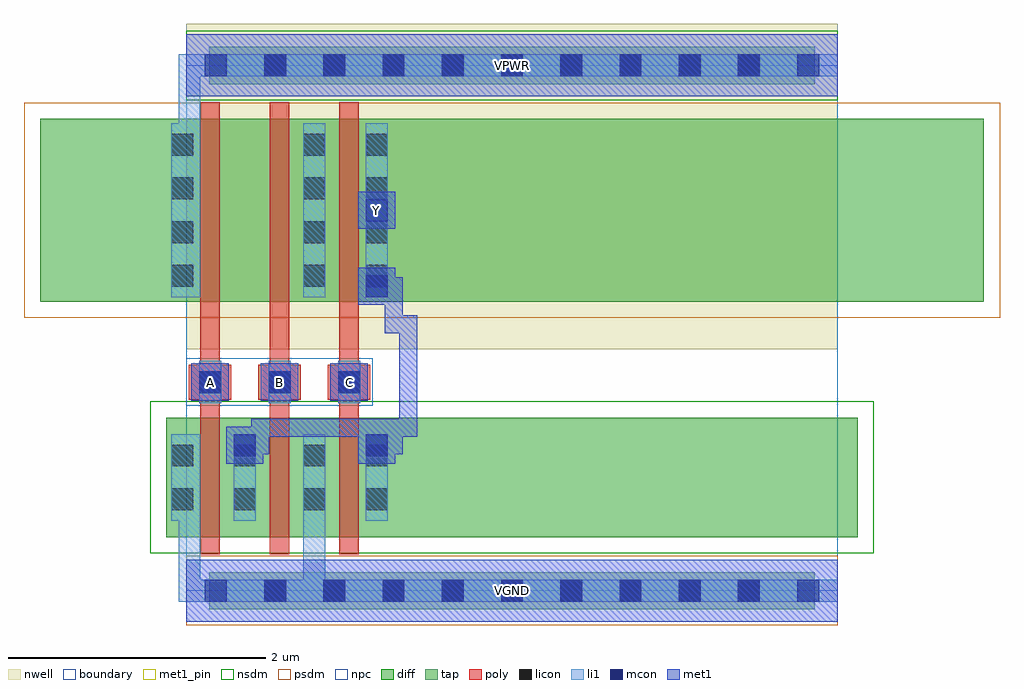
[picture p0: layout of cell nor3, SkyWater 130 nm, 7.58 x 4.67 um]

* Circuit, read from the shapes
.subckt nor3 A B C VGND VPWR Y
XM1 Y A VGND VGND sky130_fd_pr__nfet_01v8 w=0.93 l=0.15
XM2 VGND B Y VGND sky130_fd_pr__nfet_01v8 w=0.93 l=0.15
XM3 Y C VGND VGND sky130_fd_pr__nfet_01v8 w=0.93 l=0.15
XM4 n1 A VPWR VPWR sky130_fd_pr__pfet_01v8 w=1.42 l=0.15
XM5 n2 B n1 VPWR sky130_fd_pr__pfet_01v8 w=1.42 l=0.15
XM6 Y C n2 VPWR sky130_fd_pr__pfet_01v8 w=1.42 l=0.15
.ends

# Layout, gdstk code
import gdstk
lib = gdstk.Library(unit=1e-6, precision=1e-09)
def R(c, l, rs):  # rectangles x0, y0, x1, y1
    for r in rs: c.add(gdstk.rectangle(r[:2], r[2:], *l))
def A(c, l, x, y, w, h, nx, ny, dx, dy):  # array of equal rectangles
    R(c, l, [(x+i*dx, y+j*dy, x+i*dx+w, y+j*dy+h) for i in range(nx) for j in range(ny)])
nwell = (64, 20)
diff = (65, 20)
tap = (65, 44)
poly = (66, 20)
licon = (66, 44)
li1 = (67, 20)
mcon = (67, 44)
met1_pin = (68, 16)
met1 = (68, 20)
nsdm = (93, 44)
psdm = (94, 20)
npc = (95, 20)
boundary = (235, 4)

nor3 = lib.new_cell('nor3')
R(nor3, nwell, [(0,1.875,5.06,4.405)])
R(nor3, diff, [(-0.155,0.415,5.215,1.345), (-1.135,2.245,6.195,3.665)])
R(nor3, tap, [(0.18,-0.145,4.88,0.145), (0.18,3.935,4.88,4.225)])
A(nor3, poly, 0.11, 0.285, 0.15, 3.51, 3, 1, 0.54, 0)
A(nor3, poly, 0.02, 1.485, 0.33, 0.27, 3, 1, 0.54, 0)
A(nor3, licon, 0.605, -0.085, 0.17, 0.17, 9, 2, 0.46, 4.08)
A(nor3, licon, 0.1, 1.535, 0.17, 0.17, 3, 1, 0.54, 0)
A(nor3, licon, -0.115, 2.36, 0.17, 0.17, 1, 4, 0, 0.34)
A(nor3, licon, 0.91, 2.36, 0.17, 0.17, 1, 4, 0, 0.34)
A(nor3, licon, 1.395, 2.36, 0.17, 0.17, 1, 4, 0, 0.34)
R(nor3, licon, [(-0.115,0.625,0.055,0.795), (0.37,0.625,0.54,0.795), (0.91,0.625,1.08,0.795), (1.395,0.625,1.565,0.795), (-0.115,0.965,0.055,1.135), (0.37,0.965,0.54,1.135), (0.91,0.965,1.08,1.135), (1.395,0.965,1.565,1.135)])
A(nor3, li1, 0.1, 1.455, 0.17, 0.33, 3, 1, 0.54, 0)
R(nor3, li1, [(-0.06,-0.085,0.11,1.215), (0,-0.085,5.06,0.085), (0.91,-0.085,1.08,1.215), (-0.115,0.545,0.055,1.215), (0.37,0.545,0.54,1.215), (0.91,0.545,1.08,1.215), (1.395,0.545,1.565,1.215), (-0.115,2.28,0.055,3.63), (-0.06,2.28,0.11,4.165), (0.91,2.28,1.08,3.63), (1.395,2.28,1.565,3.63), (0,3.995,5.06,4.165)])
A(nor3, mcon, 0.145, -0.085, 0.17, 0.17, 11, 2, 0.46, 4.08)
A(nor3, mcon, 0.1, 1.535, 0.17, 0.17, 3, 1, 0.54, 0)
R(nor3, mcon, [(0.37,1.045,0.54,1.215), (1.395,1.045,1.565,1.215), (1.395,2.28,1.565,2.45), (1.395,2.87,1.565,3.04)])
A(nor3, met1_pin, 0.04, 1.475, 0.29, 0.29, 3, 1, 0.54, 0)
R(nor3, met1_pin, [(0,-0.24,5.06,0.24), (1.335,2.81,1.625,3.1), (0,3.84,5.06,4.32)])
A(nor3, met1, 0.04, 1.475, 0.29, 0.29, 3, 1, 0.54, 0)
R(nor3, met1, [(0,-0.24,5.06,0.24), (0.31,0.985,0.6,1.275), (1.335,0.985,1.625,1.275), (0.385,1.06,0.645,1.2), (0.505,1.06,0.645,1.335), (1.41,1.06,1.68,1.2), (1.54,1.06,1.68,1.335), (0.505,1.195,1.68,1.335), (1.54,1.195,1.795,1.335), (1.655,1.195,1.795,2.14), (1.54,2,1.68,2.255), (1.54,2,1.795,2.14), (1.54,2.115,1.68,2.435), (1.335,2.22,1.625,2.51), (1.41,2.295,1.68,2.435), (1.335,2.81,1.625,3.1), (0,3.84,5.06,4.32)])
R(nor3, nsdm, [(-0.28,0.29,5.34,1.47), (0,3.81,5.06,4.35)])
R(nor3, psdm, [(0,-0.27,5.06,0.27), (-1.26,2.12,6.32,3.79)])
R(nor3, npc, [(0,1.435,1.45,1.805)])
R(nor3, boundary, [(0,0,5.06,4.08)])
nor3.add(gdstk.Label('A', (0.185,1.62), layer=68, texttype=5))
nor3.add(gdstk.Label('B', (0.725,1.62), layer=68, texttype=5))
nor3.add(gdstk.Label('C', (1.265,1.62), layer=68, texttype=5))
nor3.add(gdstk.Label('Y', (1.48,2.955), layer=68, texttype=5))
nor3.add(gdstk.Label('VPWR', (2.53,4.08), layer=68, texttype=5))
nor3.add(gdstk.Label('VGND', (2.53,0), layer=68, texttype=5))
nor3.add(gdstk.Label('A', (0.185,1.62), layer=68, texttype=16))
nor3.add(gdstk.Label('B', (0.725,1.62), layer=68, texttype=16))
nor3.add(gdstk.Label('C', (1.265,1.62), layer=68, texttype=16))
nor3.add(gdstk.Label('Y', (1.48,2.955), layer=68, texttype=16))
nor3.add(gdstk.Label('VPWR', (2.53,4.08), layer=68, texttype=16))
nor3.add(gdstk.Label('VGND', (2.53,0), layer=68, texttype=16))

lib.write_gds('nor3.gds')
